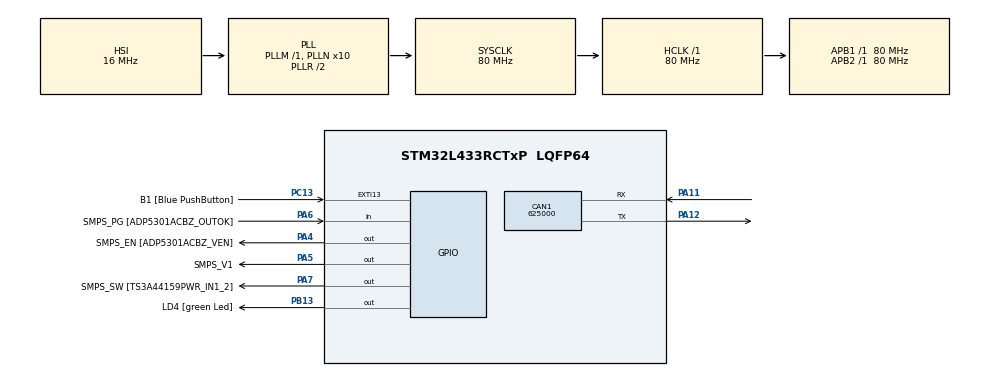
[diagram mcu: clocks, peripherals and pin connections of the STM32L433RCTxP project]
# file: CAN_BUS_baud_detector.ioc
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CAN1.BS1=CAN_BS1_5TQ
CAN1.BS2=CAN_BS2_2TQ
CAN1.CalculateBaudRate=625000
CAN1.CalculateTimeBit=1600
CAN1.CalculateTimeQuantum=200.0
Mcu.Family=STM32L4
Mcu.Name=STM32L433RCTxP
Mcu.Package=LQFP64
NVIC.PriorityGroup=NVIC_PRIORITYGROUP_4
PA11.Mode=CAN_Activate
PA11.Signal=CAN1_RX
PA12.Mode=CAN_Activate
PA12.Signal=CAN1_TX
PA13\ (JTMS-SWDIO).GPIO_Label=TMS
PA13\ (JTMS-SWDIO).Mode=Serial_Wire
PA13\ (JTMS-SWDIO).Signal=SYS_JTMS-SWDIO
PA14\ (JTCK-SWCLK).GPIO_Label=TCK
PA14\ (JTCK-SWCLK).Mode=Serial_Wire
PA14\ (JTCK-SWCLK).Signal=SYS_JTCK-SWCLK
PA2.GPIO_Label=USART_TX
PA2.GPIO_Mode=GPIO_MODE_AF_PP
PA2.GPIO_PuPd=GPIO_NOPULL
PA2.GPIO_Speed=GPIO_SPEED_FREQ_VERY_HIGH
PA2.Signal=USART2_TX
PA3.GPIO_Label=USART_RX
PA3.GPIO_Mode=GPIO_MODE_AF_PP
PA3.GPIO_PuPd=GPIO_NOPULL
PA3.GPIO_Speed=GPIO_SPEED_FREQ_VERY_HIGH
PA3.Signal=USART2_RX
PA4.GPIO_Label=SMPS_EN [ADP5301ACBZ_VEN]
PA4.Signal=GPIO_Output
PA5.GPIO_Label=SMPS_V1
PA5.GPIO_ModeDefaultOutputPP=GPIO_MODE_OUTPUT_PP
PA5.GPIO_PuPd=GPIO_NOPULL
PA5.GPIO_Speed=GPIO_SPEED_FREQ_LOW
PA5.Signal=GPIO_Output
PA6.GPIO_Label=SMPS_PG [ADP5301ACBZ_OUTOK]
PA6.GPIO_PuPd=GPIO_PULLUP
PA6.Signal=GPIO_Input
PA7.GPIO_Label=SMPS_SW [TS3A44159PWR_IN1_2]
PA7.Signal=GPIO_Output
PB13.GPIO_Label=LD4 [green Led]
PB13.Signal=GPIO_Output
PB3\ (JTDO-TRACESWO).GPIO_Label=SWO
PB3\ (JTDO-TRACESWO).Signal=SYS_JTDO-SWO
PC13.GPIO_Label=B1 [Blue PushButton]
PC13.GPIO_ModeDefaultEXTI=GPIO_MODE_IT_FALLING
PC13.GPIO_PuPd=GPIO_NOPULL
PC13.Signal=GPXTI13
PC14-OSC32_IN\ (PC14).Mode=LSE-External-Oscillator
PC14-OSC32_IN\ (PC14).Signal=RCC_OSC32_IN
PC15-OSC32_OUT\ (PC15).Mode=LSE-External-Oscillator
PC15-OSC32_OUT\ (PC15).Signal=RCC_OSC32_OUT
PH0-OSC_IN\ (PH0).GPIO_Label=MCO
PH0-OSC_IN\ (PH0).Mode=HSE-External-Clock-Source
PH0-OSC_IN\ (PH0).Signal=RCC_OSC_IN
PH1-OSC_OUT\ (PH1).Signal=RCC_OSC_OUT
ProjectManager.HeapSize=0x200
ProjectManager.StackSize=0x400
ProjectManager.TargetToolchain=CMake
RCC.ADCFreq_Value=64000000
RCC.AHBFreq_Value=80000000
RCC.APB1Freq_Value=80000000
RCC.APB1TimFreq_Value=80000000
RCC.APB2Freq_Value=80000000
RCC.APB2TimFreq_Value=80000000
RCC.CortexFreq_Value=80000000
RCC.HCLKFreq_Value=80000000
RCC.HSE_VALUE=8000000
RCC.HSI48_VALUE=48000000
RCC.HSI_VALUE=16000000
RCC.MSI_VALUE=4000000
RCC.PLLN=10
RCC.PLLSourceVirtual=RCC_PLLSOURCE_HSI
RCC.PREFETCH_ENABLE=1
RCC.SYSCLKFreq_VALUE=80000000
RCC.SYSCLKSource=RCC_SYSCLKSOURCE_PLLCLK
RCC.USBFreq_Value=64000000
RCC.VCOOutputFreq_Value=160000000
board=NUCLEO-L433RC-P

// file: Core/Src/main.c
/* USER CODE BEGIN Header */
/**
  ******************************************************************************
  * @file           : main.c
  * @brief          : Main program body
  ******************************************************************************
  * @attention
  *
  * Copyright (c) 2025 STMicroelectronics.
  * All rights reserved.
  *
  * This software is licensed under terms that can be found in the LICENSE file
  * in the root directory of this software component.
  * If no LICENSE file comes with this software, it is provided AS-IS.
  *
  ******************************************************************************
  */
/* USER CODE END Header */
#include "main.h"

/* USER CODE BEGIN Includes */
#include <stdio.h>
/* USER CODE END Includes */

/* USER CODE BEGIN PTD */
uint16_t detect_baud_rate(void);

/* USER CODE END PTD */

CAN_HandleTypeDef hcan1;

void SystemClock_Config(void);
static void MX_GPIO_Init(void);
static void MX_CAN1_Init(void);

int main(void)
{

  /* MCU Configuration--------------------------------------------------------*/

  /* Reset of all peripherals, Initializes the Flash interface and the Systick. */
  HAL_Init();

  /* Configure the system clock */
  SystemClock_Config();

  /* Initialize all configured peripherals */
  MX_GPIO_Init();
  MX_CAN1_Init();

  /* Infinite loop */
  while (1)
  {

  }
}

void SystemClock_Config(void)
{
  RCC_OscInitTypeDef RCC_OscInitStruct = {0};
  RCC_ClkInitTypeDef RCC_ClkInitStruct = {0};

  /** Configure the main internal regulator output voltage
  */
  if (HAL_PWREx_ControlVoltageScaling(PWR_REGULATOR_VOLTAGE_SCALE1) != HAL_OK)
  {
    Error_Handler();
  }

  /** Initializes the RCC Oscillators according to the specified parameters
  * in the RCC_OscInitTypeDef structure.
  */
  RCC_OscInitStruct.OscillatorType = RCC_OSCILLATORTYPE_HSI;
  RCC_OscInitStruct.HSIState = RCC_HSI_ON;
  RCC_OscInitStruct.HSICalibrationValue = RCC_HSICALIBRATION_DEFAULT;
  RCC_OscInitStruct.PLL.PLLState = RCC_PLL_ON;
  RCC_OscInitStruct.PLL.PLLSource = RCC_PLLSOURCE_HSI;
  RCC_OscInitStruct.PLL.PLLM = 1;
  RCC_OscInitStruct.PLL.PLLN = 10;
  RCC_OscInitStruct.PLL.PLLP = RCC_PLLP_DIV7;
  RCC_OscInitStruct.PLL.PLLQ = RCC_PLLQ_DIV2;
  RCC_OscInitStruct.PLL.PLLR = RCC_PLLR_DIV2;
  if (HAL_RCC_OscConfig(&RCC_OscInitStruct) != HAL_OK)
  {
    Error_Handler();
  }

  /** Initializes the CPU, AHB and APB buses clocks
  */
  RCC_ClkInitStruct.ClockType = RCC_CLOCKTYPE_HCLK|RCC_CLOCKTYPE_SYSCLK
                              |RCC_CLOCKTYPE_PCLK1|RCC_CLOCKTYPE_PCLK2;
  RCC_ClkInitStruct.SYSCLKSource = RCC_SYSCLKSOURCE_PLLCLK;
  RCC_ClkInitStruct.AHBCLKDivider = RCC_SYSCLK_DIV1;
  RCC_ClkInitStruct.APB1CLKDivider = RCC_HCLK_DIV1;
  RCC_ClkInitStruct.APB2CLKDivider = RCC_HCLK_DIV1;

  if (HAL_RCC_ClockConfig(&RCC_ClkInitStruct, FLASH_LATENCY_4) != HAL_OK)
  {
    Error_Handler();
  }
}

static void MX_CAN1_Init(void)
{

  hcan1.Instance = CAN1;
  hcan1.Init.Prescaler = 16;
  hcan1.Init.Mode = CAN_MODE_NORMAL;
  hcan1.Init.SyncJumpWidth = CAN_SJW_1TQ;
  hcan1.Init.TimeSeg1 = CAN_BS1_5TQ;
  hcan1.Init.TimeSeg2 = CAN_BS2_2TQ;
  hcan1.Init.TimeTriggeredMode = DISABLE;
  hcan1.Init.AutoBusOff = DISABLE;
  hcan1.Init.AutoWakeUp = DISABLE;
  hcan1.Init.AutoRetransmission = DISABLE;
  hcan1.Init.ReceiveFifoLocked = DISABLE;
  hcan1.Init.TransmitFifoPriority = DISABLE;
  if (HAL_CAN_Init(&hcan1) != HAL_OK)
  {
    Error_Handler();
  }
  /* USER CODE BEGIN CAN1_Init 2 */
  uint16_t new_rate = detect_baud_rate();
  printf("%d", new_rate);
  /* USER CODE END CAN1_Init 2 */

}

static void MX_GPIO_Init(void)
{
  GPIO_InitTypeDef GPIO_InitStruct = {0};

  /* GPIO Ports Clock Enable */
  __HAL_RCC_GPIOC_CLK_ENABLE();
  __HAL_RCC_GPIOH_CLK_ENABLE();
  __HAL_RCC_GPIOA_CLK_ENABLE();
  __HAL_RCC_GPIOB_CLK_ENABLE();

  /*Configure GPIO pin Output Level */
  HAL_GPIO_WritePin(GPIOA, SMPS_EN_Pin|SMPS_V1_Pin|SMPS_SW_Pin, GPIO_PIN_RESET);

  /*Configure GPIO pin Output Level */
  HAL_GPIO_WritePin(LD4_GPIO_Port, LD4_Pin, GPIO_PIN_RESET);

  /*Configure GPIO pin : B1_Pin */
  GPIO_InitStruct.Pin = B1_Pin;
  GPIO_InitStruct.Mode = GPIO_MODE_IT_FALLING;
  GPIO_InitStruct.Pull = GPIO_NOPULL;
  HAL_GPIO_Init(B1_GPIO_Port, &GPIO_InitStruct);

  /*Configure GPIO pins : USART_TX_Pin USART_RX_Pin */
  GPIO_InitStruct.Pin = USART_TX_Pin|USART_RX_Pin;
  GPIO_InitStruct.Mode = GPIO_MODE_AF_PP;
  GPIO_InitStruct.Pull = GPIO_NOPULL;
  GPIO_InitStruct.Speed = GPIO_SPEED_FREQ_VERY_HIGH;
  GPIO_InitStruct.Alternate = GPIO_AF7_USART2;
  HAL_GPIO_Init(GPIOA, &GPIO_InitStruct);

  /*Configure GPIO pins : SMPS_EN_Pin SMPS_V1_Pin SMPS_SW_Pin */
  GPIO_InitStruct.Pin = SMPS_EN_Pin|SMPS_V1_Pin|SMPS_SW_Pin;
  GPIO_InitStruct.Mode = GPIO_MODE_OUTPUT_PP;
  GPIO_InitStruct.Pull = GPIO_NOPULL;
  GPIO_InitStruct.Speed = GPIO_SPEED_FREQ_LOW;
  HAL_GPIO_Init(GPIOA, &GPIO_InitStruct);

  /*Configure GPIO pin : SMPS_PG_Pin */
  GPIO_InitStruct.Pin = SMPS_PG_Pin;
  GPIO_InitStruct.Mode = GPIO_MODE_INPUT;
  GPIO_InitStruct.Pull = GPIO_PULLUP;
  HAL_GPIO_Init(SMPS_PG_GPIO_Port, &GPIO_InitStruct);

  /*Configure GPIO pin : LD4_Pin */
  GPIO_InitStruct.Pin = LD4_Pin;
  GPIO_InitStruct.Mode = GPIO_MODE_OUTPUT_PP;
  GPIO_InitStruct.Pull = GPIO_NOPULL;
  GPIO_InitStruct.Speed = GPIO_SPEED_FREQ_LOW;
  HAL_GPIO_Init(LD4_GPIO_Port, &GPIO_InitStruct);

}

/* USER CODE BEGIN 4 */

uint16_t detect_baud_rate(void){
  // baud rates are 125, 250, 500, and 1000 in kbps
  const uint16_t baud_rates[4] = {125, 250, 500, 1000};
  // prescaler values corresponding to baud rates
  const uint16_t prescaler[4] = {55, 40, 20, 10};
  // time segment 1 values corresponding to baud rates
  const uint16_t time_seg_1[4] = {13, 9, 9, 9};
  // time segment 2 values corresponding to baud rates
  const uint16_t time_seg_2[4] = {2, 1, 1, 1};
  // variable for confirmed baud rate
  volatile uint16_t detected_rate = 0;

  for(int rate = 0; rate < 4; rate++){
    HAL_CAN_Stop(&hcan1);
    hcan1.Init.Prescaler = prescaler[rate];
    hcan1.Init.TimeSeg1 = time_seg_1[rate];
    hcan1.Init.TimeSeg2 = time_seg_2[rate];

    if (HAL_CAN_Init(&hcan1) != HAL_OK) continue;
    if (HAL_CAN_Start(&hcan1) != HAL_OK) continue;
    if (HAL_CAN_ActivateNotification(&hcan1, CAN_IT_RX_FIFO0_MSG_PENDING) != HAL_OK) continue;

    uint32_t start_time = HAL_GetTick();
    while(HAL_GetTick() - start_time < 100) {
      if(HAL_CAN_GetRxFifoFillLevel(&hcan1, CAN_RX_FIFO0) > 0){
        if(HAL_CAN_GetRxMessage(&hcan1, CAN_RX_FIFO0, &RxHeader, RxData) == HAL_OK){
          detected_rate = baud_rates[rate];
          return detected_rate;
        }
      }
    }
  };
  return 0;
}
/* USER CODE END 4 */

void Error_Handler(void)
{
  __disable_irq();
  while (1)
  {
  }
}
